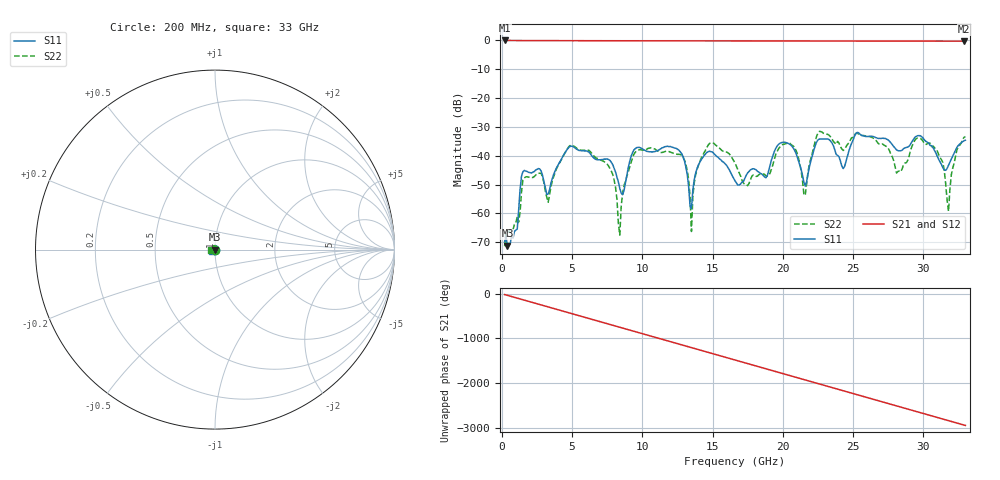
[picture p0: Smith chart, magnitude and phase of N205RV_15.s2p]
# GHZ S RI R 50
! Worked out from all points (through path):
!   329 points, 200 MHz to 33 GHz, reference 50 ohm
!   highest |S21| = -0.02 dB at 200 MHz (marker M1); lowest = -0.3 dB at 32.9 GHz (marker M2)
!   group delay of S21, straight-line fit = 248 ps
!   lowest |S11| = -71.3 dB at 400 MHz (marker M3), VSWR 1.00, Z = 50 - j0.000762 ohm
!   |S11| at or under -10 dB: start of sweep to end of sweep
!   |S22| runs from -71.4 to -31.6 dB; largest |S21 - S12| = 0.0019
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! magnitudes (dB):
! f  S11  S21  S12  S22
! 200 MHz  -69.9  0.0  0.0  -71.4
! 400 MHz  -71.3  0.0  0.0  -66.2
! 1.5 GHz  -45.6  -0.1  -0.1  -48.4
! 3.3 GHz  -53.3  -0.1  -0.1  -56.2
! 5.7 GHz  -38.3  -0.1  -0.1  -38.1
! 7.8 GHz  -42.3  -0.1  -0.1  -45.4
! 8.4 GHz  -51.3  -0.1  -0.1  -67.5
! 9.4 GHz  -38.0  -0.1  -0.1  -39.5
! 11.2 GHz  -37.9  -0.1  -0.1  -38.7
! 13 GHz  -41.7  -0.2  -0.2  -41.5
! 13.5 GHz  -58.3  -0.2  -0.2  -66.3
! 13.8 GHz  -46.0  -0.2  -0.2  -46.5
! 14.7 GHz  -38.6  -0.2  -0.2  -36.2
! 16.6 GHz  -48.7  -0.2  -0.2  -42.5
! 20.5 GHz  -36.0  -0.2  -0.2  -35.7
! 21.6 GHz  -50.5  -0.2  -0.2  -53.7
! 22.1 GHz  -40.0  -0.2  -0.2  -39.2
! 27.6 GHz  -35.0  -0.2  -0.2  -38.3
! 30.7 GHz  -37.3  -0.3  -0.3  -36.6
! 31.8 GHz  -43.3  -0.3  -0.3  -59.3
! 32.9 GHz  -34.8  -0.3  -0.3  -33.7
! 33 GHz  -34.6  -0.3  -0.3  -33.3
